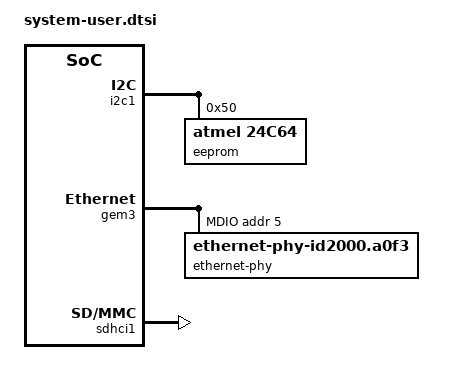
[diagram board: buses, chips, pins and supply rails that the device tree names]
/include/ "system-conf.dtsi"
/ {
	chosen {
		bootargs = " earlycon console=ttyPS0,115200 clk_ignore_unused root=/dev/ram0 rw";
		stdout-path = "serial1:115200n8";
	};
};
&i2c1 {
	eeprom: eeprom@50 {
		#address-cells = <1>;
		#size-cells = <1>;
		compatible = "atmel,24c64";
		reg = <0x50>;
		mac_address: mac-address@83 {
			reg = <0x83 6>;
		};
	};
};
&gem3 {
	nvmem-cells = <&mac_address>;
	nvmem-cell-names = "mac-address";
	mdio {
                                phandle = <0x91>;
                                #size-cells = <0x00>;
                                #address-cells = <0x01>;

                                ethernet-phy@5 {
                                        phandle = <0x89>;
                                        reg = <0x05>;
                                        compatible = "ethernet-phy-id2000.a0f3";
                                        ti,op-mode = <0x00>;
                                        #phy-cells = <0x01>;
                                };
		};
};
&sdhci1 {
	status = "okay";
	disable-wp;
};
/ {
	axi_stream_dma_0@b0000000 {
		compatible = "axi_stream_dma";
		reg = <0x0 0xb0000000 0x0 0x10000>;
		interrupts = <0 89 4>;
		interrupt-parent = <&gic>;
	};
};
